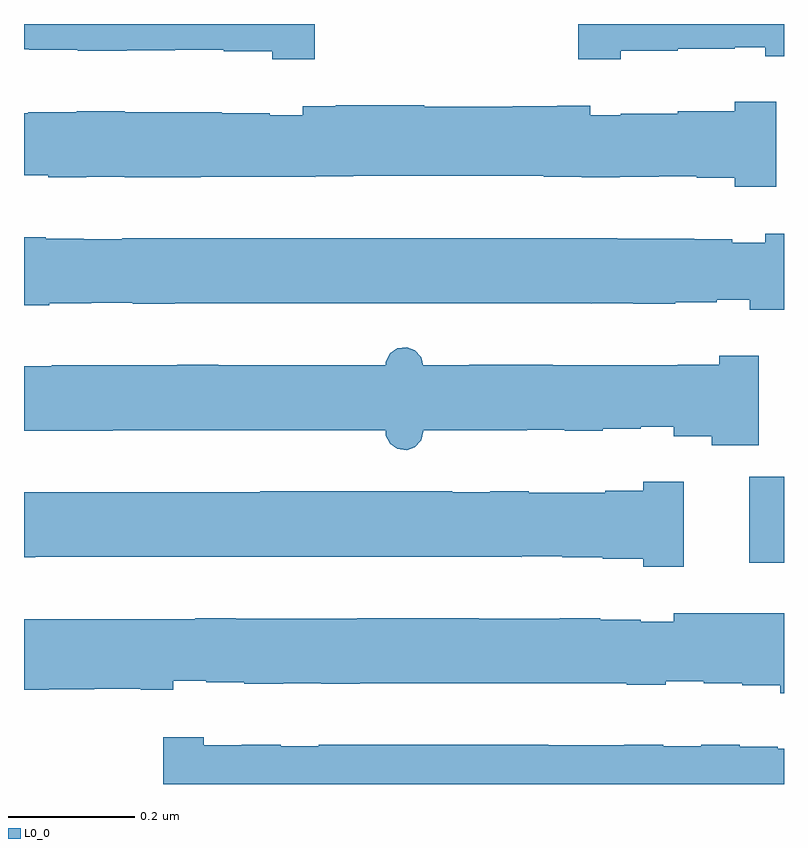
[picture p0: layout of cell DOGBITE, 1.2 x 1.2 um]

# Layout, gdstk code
import gdstk
lib = gdstk.Library(unit=1e-6, precision=1e-09)
def R(c, l, rs):  # rectangles x0, y0, x1, y1
    for r in rs: c.add(gdstk.rectangle(r[:2], r[2:], *l))
def P(c, l, *ps):  # polygons
    for p in ps: c.add(gdstk.Polygon(p, *l))
L0_0 = (0, 0)

c__mz_global_transform = lib.new_cell('_MZ_global_transform')

dogbite = lib.new_cell('DOGBITE')
R(dogbite, L0_0, [(1.145,0.349,1.2,0.485)])
P(dogbite, L0_0, [(0,0.149),(0,0.26),(0.142,0.26),(0.142,0.26),(0.206,0.26),(0.206,0.26),(0.27,0.26),(0.27,0.262),(0.334,0.262),(0.334,0.261),(0.398,0.261),(0.398,0.261),(0.526,0.261),(0.526,0.262),(0.654,0.262),(0.654,0.262),(0.718,0.262),(0.718,0.261),(0.782,0.261),(0.782,0.261),(0.846,0.261),(0.846,0.262),(0.91,0.262),(0.91,0.259),(0.974,0.259),(0.974,0.256),(1.026,0.256),(1.026,0.27),(1.194,0.27),(1.194,0.27),(1.2,0.27),(1.2,0.143),(1.194,0.143),(1.194,0.156),(1.134,0.156),(1.134,0.159),(1.073,0.159),(1.073,0.162),(1.013,0.162),(1.013,0.157),(0.952,0.157),(0.952,0.158),(0.892,0.158),(0.892,0.158),(0.771,0.158),(0.771,0.158),(0.65,0.158),(0.65,0.158),(0.59,0.158),(0.59,0.158),(0.53,0.158),(0.53,0.158),(0.469,0.158),(0.469,0.159),(0.409,0.159),(0.409,0.158),(0.348,0.158),(0.348,0.161),(0.288,0.161),(0.288,0.163),(0.236,0.163),(0.236,0.149),(0.184,0.149),(0.184,0.15),(0.111,0.15),(0.111,0.15),(0.039,0.15),(0.039,0.149)],
  [(0,0.358),(0,0.461),(0.044,0.461),(0.044,0.461),(0.14,0.461),(0.14,0.461),(0.313,0.461),(0.313,0.461),(0.373,0.461),(0.373,0.462),(0.676,0.462),(0.676,0.461),(0.736,0.461),(0.736,0.462),(0.797,0.462),(0.797,0.46),(0.857,0.46),(0.857,0.46),(0.918,0.46),(0.918,0.463),(0.978,0.463),(0.978,0.477),(1.042,0.477),(1.042,0.343),(0.978,0.343),(0.978,0.356),(0.914,0.356),(0.914,0.358),(0.85,0.358),(0.85,0.36),(0.786,0.36),(0.786,0.358),(0.722,0.358),(0.722,0.358),(0.658,0.358),(0.658,0.358),(0.402,0.358),(0.402,0.358),(0.338,0.358),(0.338,0.358),(0.146,0.358),(0.146,0.358),(0.082,0.358),(0.082,0.358),(0.018,0.358),(0.018,0.358)],
  [(0,0.558),(0,0.66),(0.044,0.66),(0.044,0.661),(0.11,0.661),(0.11,0.661),(0.176,0.661),(0.176,0.661),(0.242,0.661),(0.242,0.662),(0.307,0.662),(0.307,0.661),(0.373,0.661),(0.373,0.661),(0.439,0.661),(0.439,0.661),(0.637,0.661),(0.637,0.661),(0.703,0.661),(0.703,0.662),(0.769,0.662),(0.769,0.662),(0.835,0.662),(0.835,0.661),(0.9,0.661),(0.9,0.661),(0.966,0.661),(0.966,0.661),(1.032,0.661),(1.032,0.662),(1.098,0.662),(1.098,0.676),(1.16,0.676),(1.16,0.535),(1.086,0.535),(1.086,0.549),(1.026,0.549),(1.026,0.564),(0.974,0.564),(0.974,0.561),(0.914,0.561),(0.914,0.558),(0.854,0.558),(0.854,0.559),(0.794,0.559),(0.794,0.558),(0.734,0.558),(0.734,0.558),(0.673,0.558),(0.673,0.558),(0.493,0.558),(0.493,0.558),(0.433,0.558),(0.433,0.558),(0.312,0.558),(0.312,0.558),(0.252,0.558),(0.252,0.558),(0.192,0.558),(0.192,0.558),(0.14,0.558),(0.14,0.558)],
  [(0,0.756),(0,0.863),(0.034,0.863),(0.034,0.861),(0.094,0.861),(0.094,0.86),(0.155,0.86),(0.155,0.862),(0.215,0.862),(0.215,0.862),(0.335,0.862),(0.335,0.862),(0.456,0.862),(0.456,0.862),(0.516,0.862),(0.516,0.862),(0.636,0.862),(0.636,0.862),(0.817,0.862),(0.817,0.862),(0.877,0.862),(0.877,0.862),(0.937,0.862),(0.937,0.861),(0.998,0.861),(0.998,0.861),(1.058,0.861),(1.058,0.86),(1.118,0.86),(1.118,0.855),(1.17,0.855),(1.17,0.869),(1.2,0.869),(1.2,0.749),(1.146,0.749),(1.146,0.765),(1.094,0.765),(1.094,0.761),(1.028,0.761),(1.028,0.758),(0.962,0.758),(0.962,0.759),(0.896,0.759),(0.896,0.758),(0.831,0.758),(0.831,0.758),(0.765,0.758),(0.765,0.758),(0.699,0.758),(0.699,0.758),(0.501,0.758),(0.501,0.758),(0.435,0.758),(0.435,0.758),(0.369,0.758),(0.369,0.758),(0.238,0.758),(0.238,0.758),(0.172,0.758),(0.172,0.759),(0.106,0.759),(0.106,0.759),(0.04,0.759),(0.04,0.756)],
  [(0,0.961),(0,1.059),(0.007,1.059),(0.007,1.061),(0.083,1.061),(0.083,1.062),(0.159,1.062),(0.159,1.061),(0.312,1.061),(0.312,1.059),(0.388,1.059),(0.388,1.056),(0.44,1.056),(0.44,1.07),(0.492,1.07),(0.492,1.072),(0.632,1.072),(0.632,1.069),(0.702,1.069),(0.702,1.069),(0.772,1.069),(0.772,1.07),(0.842,1.07),(0.842,1.071),(0.894,1.071),(0.894,1.056),(0.942,1.056),(0.942,1.058),(1.032,1.058),(1.032,1.062),(1.122,1.062),(1.122,1.077),(1.188,1.077),(1.188,0.943),(1.122,0.943),(1.122,0.957),(1.062,0.957),(1.062,0.959),(1.002,0.959),(1.002,0.959),(0.941,0.959),(0.941,0.958),(0.881,0.958),(0.881,0.959),(0.821,0.959),(0.821,0.96),(0.761,0.96),(0.761,0.96),(0.701,0.96),(0.701,0.96),(0.52,0.96),(0.52,0.96),(0.46,0.96),(0.46,0.958),(0.4,0.958),(0.4,0.958),(0.279,0.958),(0.279,0.958),(0.159,0.958),(0.159,0.959),(0.098,0.959),(0.098,0.958),(0.038,0.958),(0.038,0.961)],
  [(0,1.16),(0,1.2),(0.459,1.2),(0.459,1.144),(0.392,1.144),(0.392,1.157),(0.315,1.157),(0.315,1.159),(0.238,1.159),(0.238,1.158),(0.162,1.158),(0.162,1.158),(0.085,1.158),(0.085,1.159),(0.008,1.159),(0.008,1.16)],
  [(0.22,0),(0.22,0.074),(0.284,0.074),(0.284,0.061),(0.344,0.061),(0.344,0.062),(0.405,0.062),(0.405,0.06),(0.465,0.06),(0.465,0.062),(0.526,0.062),(0.526,0.062),(0.586,0.062),(0.586,0.062),(0.646,0.062),(0.646,0.062),(0.707,0.062),(0.707,0.062),(0.828,0.062),(0.828,0.061),(0.888,0.061),(0.888,0.061),(0.948,0.061),(0.948,0.062),(1.009,0.062),(1.009,0.06),(1.069,0.06),(1.069,0.062),(1.13,0.062),(1.13,0.059),(1.19,0.059),(1.19,0.056),(1.2,0.056),(1.2,0)],
  [(0.875,1.144),(0.875,1.2),(1.2,1.2),(1.2,1.149),(1.17,1.149),(1.17,1.163),(1.122,1.163),(1.122,1.161),(1.032,1.161),(1.032,1.158),(0.942,1.158),(0.942,1.144)],
  [(0.63,0.66),(0.627,0.674),(0.617,0.685),(0.604,0.69),(0.589,0.688),(0.578,0.68),(0.571,0.667),(0.571,0.653),(0.578,0.64),(0.589,0.632),(0.604,0.63),(0.617,0.635),(0.627,0.646)],
  [(0.63,0.557),(0.627,0.571),(0.617,0.582),(0.604,0.587),(0.589,0.585),(0.578,0.577),(0.571,0.564),(0.571,0.55),(0.578,0.537),(0.589,0.529),(0.604,0.527),(0.617,0.532),(0.627,0.543)])
dogbite.add(gdstk.Reference(c__mz_global_transform, (0,0)))

lib.write_gds('DOGBITE.gds')
